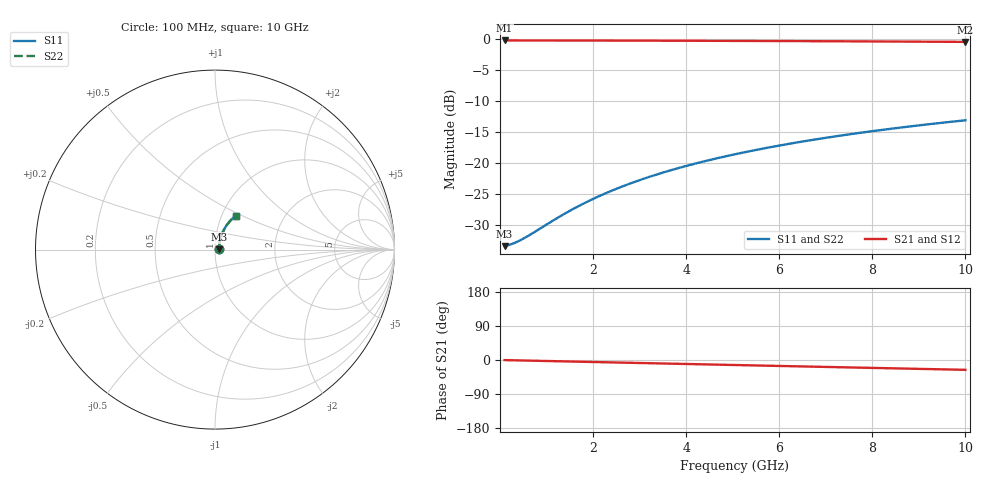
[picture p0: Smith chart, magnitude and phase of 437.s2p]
# Hz S RI R 50.00
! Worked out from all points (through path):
!   100 points, 100 MHz to 10 GHz, reference 50 ohm
!   highest |S21| = -0.19 dB at 100 MHz (marker M1); lowest = -0.4 dB at 10 GHz (marker M2)
!   group delay of S21, straight-line fit = 7.21 ps
!   lowest |S11| = -33.4 dB at 100 MHz (marker M3), VSWR 1.04, Z = 52.2 + j0.233 ohm
!   |S11| at or under -10 dB: start of sweep to end of sweep
!   |S22| runs from -33.4 to -13.1 dB; largest |S21 - S12| = 0
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1e8  0.0213 0.00223  0.9787 -0.0045  0.9787 -0.0045  0.0213 0.00223
2e8  0.0214 0.00446  0.9785 -0.009  0.9785 -0.009  0.0214 0.00446
3e8  0.0216 0.00669  0.9784 -0.0135  0.9784 -0.0135  0.0216 0.00669
5e8  0.0219 0.0111  0.978 -0.0225  0.978 -0.0225  0.0219 0.0111
7e8  0.0223 0.0156  0.9776 -0.0315  0.9776 -0.0315  0.0223 0.0156
1.3e9  0.0238 0.0289  0.9758 -0.0584  0.9758 -0.0584  0.0238 0.0289
1.6e9  0.0247 0.0355  0.9746 -0.0718  0.9746 -0.0718  0.0247 0.0355
1.8e9  0.0255 0.0398  0.9736 -0.0807  0.9736 -0.0807  0.0255 0.0398
2.2e9  0.0272 0.0486  0.9715 -0.0985  0.9715 -0.0985  0.0272 0.0486
2.6e9  0.0293 0.0572  0.9689 -0.1163  0.9689 -0.1163  0.0293 0.0572
3e9  0.0316 0.0657  0.966 -0.1339  0.966 -0.1339  0.0316 0.0657
3.4e9  0.0343 0.0742  0.9626 -0.1514  0.9626 -0.1514  0.0343 0.0742
3.8e9  0.0373 0.0825  0.9589 -0.1689  0.9589 -0.1689  0.0373 0.0825
4.2e9  0.0405 0.0907  0.9548 -0.1861  0.9548 -0.1861  0.0405 0.0907
4.6e9  0.0441 0.0988  0.9503 -0.2033  0.9503 -0.2033  0.0441 0.0988
5.1e9  0.0489 0.1086  0.9442 -0.2245  0.9442 -0.2245  0.0489 0.1086
5.9e9  0.0575 0.1239  0.9333 -0.258  0.9333 -0.258  0.0575 0.1239
6.7e9  0.0671 0.1384  0.921 -0.2907  0.921 -0.2907  0.0671 0.1384
7.5e9  0.0778 0.1521  0.9073 -0.3226  0.9073 -0.3226  0.0778 0.1521
8.4e9  0.0908 0.1665  0.8905 -0.3574  0.8905 -0.3574  0.0908 0.1665
9.2e9  0.1032 0.1783  0.8743 -0.3874  0.8743 -0.3874  0.1032 0.1783
1e10  0.1163 0.1891  0.8571 -0.4164  0.8571 -0.4164  0.1163 0.1891
